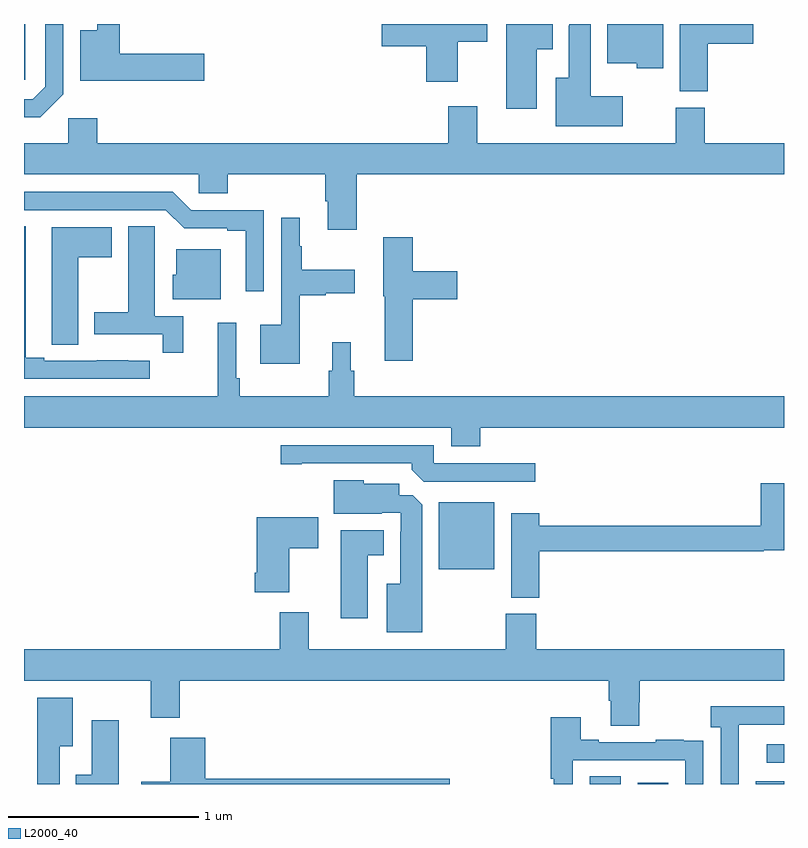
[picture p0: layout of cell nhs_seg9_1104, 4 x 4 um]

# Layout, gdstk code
import gdstk
lib = gdstk.Library(unit=1e-6, precision=1e-09)
def R(c, l, rs):  # rectangles x0, y0, x1, y1
    for r in rs: c.add(gdstk.rectangle(r[:2], r[2:], *l))
def P(c, l, *ps):  # polygons
    for p in ps: c.add(gdstk.Polygon(p, *l))
L2000_40 = (2000, 40)

nhs_seg9_1104 = lib.new_cell('nhs_seg9_1104')
R(nhs_seg9_1104, L2000_40, [(173.978,1238.5,174.142,1238.54), (174.23,1238.5,174.391,1238.506), (174.851,1238.5,175,1238.515), (174.909,1238.613,175,1238.709), (173.183,1239.629,173.476,1239.982), (171,1242.207,171.006,1242.5)])
P(nhs_seg9_1104, L2000_40, [(174.151,1242.121),(173.983,1242.121),(173.983,1242.5),(173.871,1242.5),(173.871,1242.491),(173.867,1242.491),(173.867,1242.217),(173.798,1242.217),(173.798,1241.963),(174.151,1241.963)],
  [(174.599,1242.395),(174.839,1242.395),(174.839,1242.5),(174.452,1242.5),(174.452,1242.145),(174.599,1242.145)],
  [(171.949,1242.344),(171.503,1242.344),(171.503,1242.5),(171.386,1242.5),(171.386,1242.466),(171.296,1242.466),(171.296,1242.202),(171.949,1242.202)],
  [(171.207,1242.129),(171.207,1242.5),(171.111,1242.5),(171.111,1242.171),(171.045,1242.105),(171,1242.105),(171,1242.008),(171.086,1242.008)],
  [(173.284,1242.406),(173.437,1242.406),(173.437,1242.5),(172.884,1242.5),(172.884,1242.383),(173.117,1242.383),(173.117,1242.195),(173.284,1242.195)],
  [(174.364,1242.5),(174.071,1242.5),(174.071,1242.293),(174.225,1242.293),(174.225,1242.266),(174.364,1242.266)],
  [(173.698,1242.368),(173.782,1242.368),(173.782,1242.499),(173.537,1242.499),(173.537,1242.054),(173.698,1242.054)],
  [(171.386,1242.004),(171.234,1242.004),(171.234,1241.872),(171,1241.872),(171,1241.708),(171.921,1241.708),(171.921,1241.61),(172.073,1241.61),(172.073,1241.708),(172.586,1241.708),(172.586,1241.566),(172.598,1241.566),(172.598,1241.418),(172.751,1241.418),(172.751,1241.708),(175,1241.708),(175,1241.872),(174.584,1241.872),(174.584,1242.06),(174.431,1242.06),(174.431,1241.872),(173.386,1241.872),(173.386,1242.067),(173.234,1242.067),(173.234,1241.872),(171.386,1241.872)],
  [(172.263,1241.52),(171.879,1241.52),(171.783,1241.616),(171,1241.616),(171,1241.52),(171.747,1241.52),(171.843,1241.424),(172.07,1241.424),(172.07,1241.412),(172.166,1241.412),(172.166,1241.094),(172.263,1241.094)],
  [(172.45,1241.072),(172.587,1241.072),(172.587,1241.084),(172.741,1241.084),(172.741,1241.206),(172.462,1241.206),(172.462,1241.33),(172.45,1241.33),(172.45,1241.479),(172.353,1241.479),(172.353,1240.918),(172.244,1240.918),(172.244,1240.712),(172.45,1240.712)],
  [(171.661,1240.728),(171.548,1240.728),(171.548,1240.729),(171.382,1240.729),(171.382,1240.728),(171.106,1240.728),(171.106,1240.743),(171.01,1240.743),(171.01,1241.435),(171,1241.435),(171,1240.632),(171.661,1240.632)],
  [(171.839,1240.962),(171.688,1240.962),(171.688,1241.324),(171.687,1241.324),(171.687,1241.435),(171.548,1241.435),(171.548,1240.983),(171.371,1240.983),(171.371,1240.866),(171.73,1240.866),(171.73,1240.77),(171.839,1240.77)],
  [(171.286,1241.272),(171.463,1241.272),(171.463,1241.431),(171.146,1241.431),(171.146,1240.921),(171.147,1240.921),(171.147,1240.813),(171.286,1240.813)],
  [(173.045,1241.051),(173.281,1241.051),(173.281,1241.198),(173.045,1241.198),(173.045,1241.377),(172.892,1241.377),(172.892,1241.067),(172.898,1241.067),(172.898,1240.728),(173.045,1240.728)],
  [(172.036,1241.314),(171.8,1241.314),(171.8,1241.181),(171.782,1241.181),(171.782,1241.051),(172.036,1241.051)],
  [(173.402,1240.376),(175,1240.376),(175,1240.54),(172.739,1240.54),(172.739,1240.674),(172.72,1240.674),(172.72,1240.825),(172.622,1240.825),(172.622,1240.674),(172.603,1240.674),(172.603,1240.54),(172.136,1240.54),(172.136,1240.636),(172.116,1240.636),(172.116,1240.927),(172.019,1240.927),(172.019,1240.54),(171,1240.54),(171,1240.376),(173.249,1240.376),(173.249,1240.277),(173.402,1240.277)],
  [(173.692,1240.188),(173.157,1240.188),(173.157,1240.284),(172.35,1240.284),(172.35,1240.183),(172.462,1240.183),(172.462,1240.188),(173.042,1240.188),(173.042,1240.154),(173.103,1240.092),(173.692,1240.092)],
  [(173.095,1239.971),(173.046,1240.02),(172.975,1240.02),(172.975,1240.081),(172.788,1240.081),(172.788,1240.099),(172.631,1240.099),(172.631,1239.923),(172.883,1239.923),(172.883,1239.927),(172.983,1239.927),(172.983,1239.827),(172.979,1239.827),(172.979,1239.553),(172.91,1239.553),(172.91,1239.299),(173.095,1239.299)],
  [(173.711,1239.724),(174.894,1239.724),(174.894,1239.731),(175,1239.731),(175,1240.084),(174.878,1240.084),(174.878,1239.86),(173.711,1239.86),(173.711,1239.925),(173.564,1239.925),(173.564,1239.481),(173.711,1239.481)],
  [(172.396,1239.742),(172.549,1239.742),(172.549,1239.904),(172.226,1239.904),(172.226,1239.613),(172.214,1239.613),(172.214,1239.509),(172.396,1239.509)],
  [(172.81,1239.704),(172.894,1239.704),(172.894,1239.835),(172.667,1239.835),(172.667,1239.372),(172.81,1239.372)],
  [(174.237,1238.931),(174.242,1238.931),(174.242,1239.044),(175,1239.044),(175,1239.208),(173.696,1239.208),(173.696,1239.396),(173.536,1239.396),(173.536,1239.208),(172.498,1239.208),(172.498,1239.403),(172.346,1239.403),(172.346,1239.208),(171,1239.208),(171,1239.044),(171.668,1239.044),(171.668,1238.85),(171.821,1238.85),(171.821,1239.044),(174.077,1239.044),(174.077,1238.938),(174.089,1238.938),(174.089,1238.806),(174.237,1238.806)],
  [(171.187,1238.699),(171.256,1238.699),(171.256,1238.953),(171.071,1238.953),(171.071,1238.5),(171.187,1238.5)],
  [(174.762,1238.611),(174.763,1238.611),(174.763,1238.811),(175,1238.811),(175,1238.908),(174.615,1238.908),(174.615,1238.798),(174.666,1238.798),(174.666,1238.5),(174.762,1238.5)],
  [(173.889,1238.625),(174.48,1238.625),(174.48,1238.5),(174.576,1238.5),(174.576,1238.618),(174.575,1238.618),(174.575,1238.727),(174.473,1238.727),(174.473,1238.734),(174.325,1238.734),(174.325,1238.721),(174.025,1238.721),(174.025,1238.734),(173.929,1238.734),(173.929,1238.851),(173.773,1238.851),(173.773,1238.528),(173.788,1238.528),(173.788,1238.5),(173.889,1238.5)],
  [(171.499,1238.836),(171.356,1238.836),(171.356,1238.548),(171.272,1238.548),(171.272,1238.5),(171.499,1238.5)],
  [(173.242,1238.528),(171.953,1238.528),(171.953,1238.743),(171.77,1238.743),(171.77,1238.511),(171.618,1238.511),(171.618,1238.5),(173.242,1238.5)])

lib.write_gds('nhs_seg9_1104.gds')
